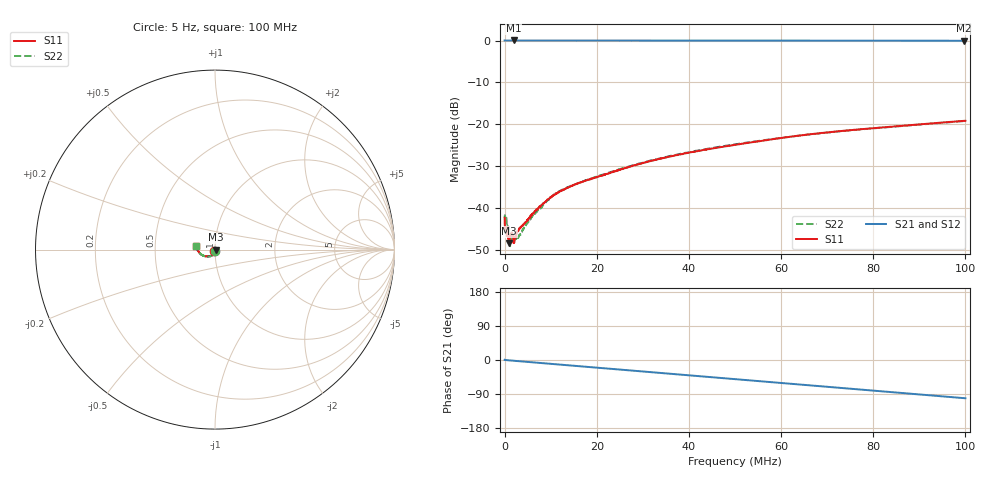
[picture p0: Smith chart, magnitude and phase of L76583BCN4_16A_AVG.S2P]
!Agilent Technologies,E5061B,MY49102235,A.02.00
!Date: Tue Jul 11 17:08:43 2023
!Data & Calibration Information:
!Freq	S11:SOLT2(ON)	S21:SOLT2(ON)	S12:SOLT2(ON)	S22:SOLT2(ON)
# Hz S RI R 50
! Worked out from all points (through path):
!   1600 points, 5 Hz to 100 MHz, reference 50 ohm
!   highest |S21| = 0.02 dB at 1.939 MHz (marker M1); lowest = 0.0 dB at 99.75 MHz (marker M2)
!   group delay of S21, straight-line fit = 2.81 ns
!   lowest |S11| = -48.4 dB at 1.001 MHz (marker M3), VSWR 1.01, Z = 50.4 - j0.0738 ohm
!   |S11| at or under -10 dB: start of sweep to end of sweep
!   |S22| runs from -49.1 to -19.2 dB; largest |S21 - S12| = 0.0027
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5  -0.00513 -0.00566  1.002 0.00797  1.001 0.0103  -0.00145 -0.00755
437778.6  0.00515 -0.000576  1.001 -0.00543  1.001 -0.00609  0.00662 -0.0022
625395.8  0.00514 -0.000612  1.002 -0.0105  1.002 -0.0101  0.0061 -0.000946
1000630  0.00373 -0.000732  1.001 -0.0166  1.001 -0.0158  0.00507 -0.00165
1563482  0.0043 -0.00281  1.001 -0.0265  1.001 -0.0253  0.0031 -0.00341
1938717  0.00308 -0.00225  1.002 -0.0339  1.001 -0.033  0.00337 -0.00199
2376490  0.00327 -0.00287  1 -0.0417  1 -0.0416  0.0039 -0.00256
3252037  0.0042 -0.00403  0.9995 -0.0572  0.9991 -0.0568  0.00311 -0.00354
6003757  0.00329 -0.00759  0.9955 -0.1055  0.9954 -0.105  0.00286 -0.00742
9505946  0.00149 -0.0126  0.9871 -0.167  0.9871 -0.1664  0.00088 -0.0126
1.156974e7  1.36e-05 -0.0154  0.9805 -0.2026  0.9801 -0.2021  -0.000866 -0.0155
1.669794e7  -0.00374 -0.0201  0.9576 -0.2902  0.9574 -0.2897  -0.00413 -0.0202
2.582865e7  -0.0108 -0.0275  0.8989 -0.4399  0.8986 -0.4395  -0.00875 -0.0287
3.333334e7  -0.0193 -0.0331  0.8325 -0.5545  0.8323 -0.5539  -0.018 -0.0343
4.033771e7  -0.0284 -0.0366  0.7576 -0.6524  0.7576 -0.6518  -0.0279 -0.0378
5.003127e7  -0.042 -0.0382  0.6354 -0.7717  0.6353 -0.7711  -0.0422 -0.0391
6.672921e7  -0.0698 -0.0318  0.3834 -0.9214  0.3839 -0.9212  -0.069 -0.0319
7.53596e7  -0.0825 -0.0224  0.2395 -0.968  0.2398 -0.9677  -0.0817 -0.0233
8.33646e7  -0.0924 -0.0102  0.1012 -0.9915  0.1013 -0.9914  -0.0918 -0.0122
9.155722e7  -0.1013 0.0042  -0.0426 -0.9948  -0.0424 -0.9946  -0.101 0.00108
9.974984e7  -0.1081 0.0203  -0.185 -0.9773  -0.1845 -0.9774  -0.1078 0.0173
1e8  -0.1082 0.0207  -0.1892 -0.9766  -0.1889 -0.9766  -0.1081 0.018
